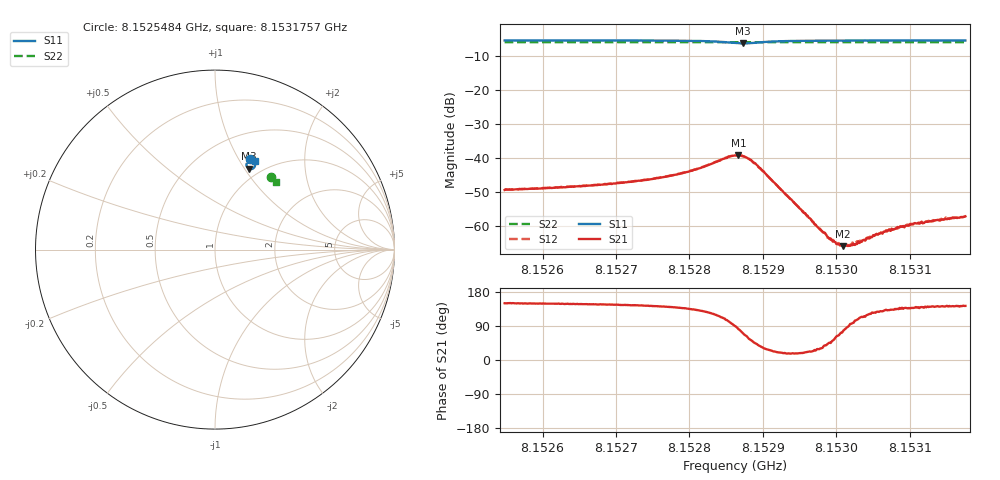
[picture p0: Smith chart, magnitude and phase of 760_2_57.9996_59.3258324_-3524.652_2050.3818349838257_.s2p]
#  HZ  S  RI  R  50.00
! Rohde & Schwarz Vector Network Analyzer
! Rohde-Schwarz,ZNB20-2Port,1311601062101988,3.16
! Created: UTC 3/21/2024, 1:24:22 AM
! freq[Hz]  re:S11  im:S11  re:S21  im:S21  re:S12  im:S12  re:S22  im:S22
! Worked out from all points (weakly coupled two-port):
!   401 points, 8.1525484 GHz to 8.1531757 GHz, reference 50 ohm
!   highest |S21| = -39.13 dB at 8.1528667 GHz (marker M1); lowest = -66.0 dB at 8.1530095 GHz (marker M2)
!   lowest |S11| = -6.2 dB at 8.152873 GHz (marker M3), VSWR 2.91, Z = 44.3 + j52.4 ohm
!   |S11| at or under -10 dB: nowhere
!   |S22| runs from -5.9 to -5.8 dB; largest |S21 - S12| = 0.00046
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8.15254838e9  0.1924 0.5049  -0.00293 0.0017  -0.00295 0.00175  0.3123 0.4043
8.15265345e9  0.2014 0.5011  -0.00325 0.00206  -0.00325 0.00211  0.3175 0.4
8.15271619e9  0.2077 0.4979  -0.00365 0.00255  -0.00362 0.00258  0.3207 0.3974
8.15275853e9  0.2132 0.4942  -0.00398 0.00318  -0.00399 0.00325  0.3228 0.3954
8.15280087e9  0.2195 0.4868  -0.00451 0.00457  -0.00446 0.00468  0.3247 0.3934
8.15285576e9  0.2149 0.4539  -0.00158 0.0105  -0.00137 0.0106  0.3266 0.3904
8.15286204e9  0.2074 0.4497  8.56e-05 0.0109  0.000404 0.011  0.3266 0.3899
8.15286674e9  0.2002 0.4483  0.00164 0.0109  0.00188 0.011  0.3266 0.3899
8.15287302e9  0.1901 0.4503  0.00355 0.01  0.00379 0.01  0.3266 0.3897
8.15288243e9  0.179 0.4597  0.00555 0.00766  0.00567 0.00767  0.3268 0.3899
8.1528934e9  0.1752 0.4735  0.00588 0.00484  0.00585 0.00459  0.3274 0.3899
8.15296711e9  0.199 0.4974  0.00108 0.000451  0.00109 0.000434  0.3319 0.3877
8.15299064e9  0.2035 0.4972  0.000449 0.00046  0.000477 0.000456  0.333 0.3865
8.15300162e9  0.2052 0.4972  0.000235 0.00048  0.000258 0.000492  0.3336 0.3862
8.15300946e9  0.2065 0.4971  0.00011 0.000491  0.000102 0.000508  0.3342 0.3857
8.1530173e9  0.2075 0.497  -5.23e-06 0.000509  -1.29e-05 0.000524  0.3346 0.3854
8.15302514e9  0.2087 0.4967  -0.000124 0.000508  -0.000112 0.000538  0.3347 0.3851
8.15305337e9  0.2119 0.4961  -0.000427 0.000616  -0.000449 0.000586  0.3362 0.3838
8.15307219e9  0.2139 0.4956  -0.000591 0.000662  -0.000579 0.000669  0.3372 0.383
8.15310983e9  0.2175 0.4944  -0.000811 0.000723  -0.000824 0.000722  0.3389 0.3813
8.15315217e9  0.2213 0.493  -0.00101 0.000815  -0.000978 0.00081  0.3409 0.3794
8.1531757e9  0.2232 0.4924  -0.0011 0.000839  -0.00108 0.000841  0.3419 0.3784
